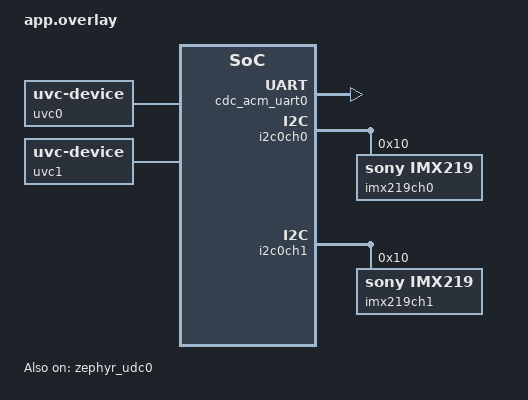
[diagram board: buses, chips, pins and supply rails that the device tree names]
/*
 * Copyright (c) 2024-2025 tinyVision.ai Inc.
 *
 * SPDX-License-Identifier: Apache-2.0
 */

#include <riscv/tinyvision/from_csi0_to_stats0.dtsi>
#include <riscv/tinyvision/from_csi0_to_debayer0.dtsi>
#include <riscv/tinyvision/from_debayer0_to_uvcmanager0.dtsi>

#include <riscv/tinyvision/from_csi1_to_stats1.dtsi>
#include <riscv/tinyvision/from_csi1_to_debayer1.dtsi>
#include <riscv/tinyvision/from_debayer1_to_uvcmanager1.dtsi>

#include <riscv/tinyvision/add_i2c0_pll.dtsi>
#include <riscv/tinyvision/add_i2c0_multiplexer.dtsi>

/* Global settings */

/ {
	chosen {
		zephyr,shell-uart = &cdc_acm_uart0;
	};
};

/* USB interfaces */

&zephyr_udc0 {
	num-in-endpoints = <5>;
	num-out-endpoints = <2>;
	status = "okay";

	cdc_acm_uart0: cdc-acm-uart {
		compatible = "zephyr,cdc-acm-uart";
	};

	uvc0: uvc0 {
		compatible = "zephyr,uvc-device";
		interface-name = "tinyCLUNX33-PodA-Top";
	};

	uvc1: uvc1 {
		compatible = "zephyr,uvc-device";
		interface-name = "tinyCLUNX33-PodA-Bottom";
	};
};

&uvcmanager0 {
	usb-endpoint = <0x83>;
};

&uvcmanager1 {
	usb-endpoint = <0x84>;
};

/* Camera 0 config */

&csi0_ep_in {
	remote-endpoint-label = "imx219ch0_ep_out";
};

&i2c0ch0 {
	imx219ch0@10 {
		compatible = "sony,imx219";
		reg = <0x10>;

		port {
			imx219ch0_ep_out: endpoint {
				remote-endpoint-label = "csi0_ep_in";
			};
		};
	};
};

/* Camera 1 config */

&csi1_ep_in {
	remote-endpoint-label = "imx219ch1_ep_out";
};

&i2c0ch1 {
	imx219ch1@10 {
		compatible = "sony,imx219";
		reg = <0x10>;

		port {
			imx219ch1_ep_out: endpoint {
				remote-endpoint-label = "csi1_ep_in";
			};
		};
	};
};
